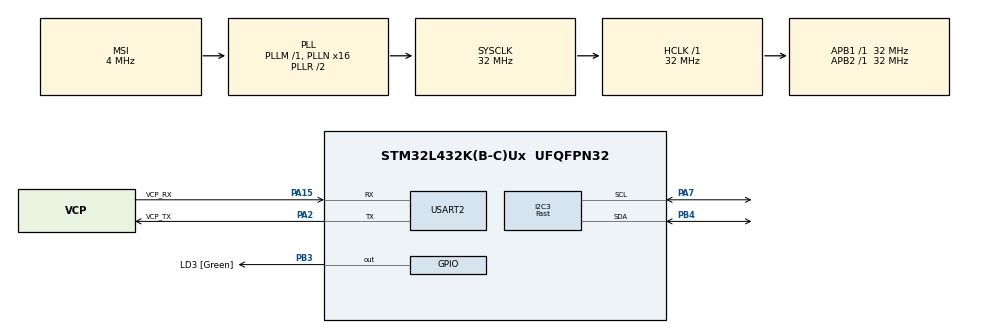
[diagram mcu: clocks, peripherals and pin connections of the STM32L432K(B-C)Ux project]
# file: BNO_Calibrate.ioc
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Dma.I2C3_RX.0.Direction=DMA_PERIPH_TO_MEMORY
Dma.I2C3_RX.0.Instance=DMA1_Channel3
Dma.I2C3_RX.0.MemDataAlignment=DMA_MDATAALIGN_BYTE
Dma.I2C3_RX.0.MemInc=DMA_MINC_ENABLE
Dma.I2C3_RX.0.Mode=DMA_NORMAL
Dma.I2C3_RX.0.PeriphDataAlignment=DMA_PDATAALIGN_BYTE
Dma.I2C3_RX.0.PeriphInc=DMA_PINC_DISABLE
Dma.I2C3_RX.0.Priority=DMA_PRIORITY_LOW
Dma.I2C3_TX.1.Direction=DMA_MEMORY_TO_PERIPH
Dma.I2C3_TX.1.Instance=DMA1_Channel2
Dma.I2C3_TX.1.MemDataAlignment=DMA_MDATAALIGN_BYTE
Dma.I2C3_TX.1.MemInc=DMA_MINC_ENABLE
Dma.I2C3_TX.1.Mode=DMA_NORMAL
Dma.I2C3_TX.1.PeriphDataAlignment=DMA_PDATAALIGN_BYTE
Dma.I2C3_TX.1.PeriphInc=DMA_PINC_DISABLE
Dma.I2C3_TX.1.Priority=DMA_PRIORITY_LOW
Dma.Request0=I2C3_RX
Dma.Request1=I2C3_TX
I2C3.I2C_Speed_Mode=I2C_Fast
I2C3.Timing=0x00300F38
Mcu.Family=STM32L4
Mcu.Name=STM32L432K(B-C)Ux
Mcu.Package=UFQFPN32
NVIC.DMA1_Channel2_IRQn=true\:0\:0\:false\:false\:true\:false\:true\:true
NVIC.DMA1_Channel3_IRQn=true\:0\:0\:false\:false\:true\:false\:true\:true
NVIC.I2C3_EV_IRQn=true\:0\:0\:false\:false\:true\:true\:true\:true
NVIC.PriorityGroup=NVIC_PRIORITYGROUP_4
PA0.GPIO_Label=MCO [High speed clock in]
PA0.Mode=HSE-External-Clock-Source-for-LittleOrca
PA0.Signal=RCC_CK_IN
PA13\ (JTMS-SWDIO).GPIO_Label=SWDIO
PA13\ (JTMS-SWDIO).Mode=Serial_Wire
PA13\ (JTMS-SWDIO).Signal=SYS_JTMS-SWDIO
PA14\ (JTCK-SWCLK).GPIO_Label=SWCLK
PA14\ (JTCK-SWCLK).Mode=Serial_Wire
PA14\ (JTCK-SWCLK).Signal=SYS_JTCK-SWCLK
PA15\ (JTDI).GPIO_Label=VCP_RX
PA15\ (JTDI).Mode=Asynchronous
PA15\ (JTDI).Signal=USART2_RX
PA2.GPIO_Label=VCP_TX
PA2.Mode=Asynchronous
PA2.Signal=USART2_TX
PA7.Mode=I2C
PA7.Signal=I2C3_SCL
PB3\ (JTDO-TRACESWO).GPIO_Label=LD3 [Green]
PB3\ (JTDO-TRACESWO).Signal=GPIO_Output
PB4\ (NJTRST).Mode=I2C
PB4\ (NJTRST).Signal=I2C3_SDA
PC14-OSC32_IN\ (PC14).Mode=LSE-External-Oscillator
PC14-OSC32_IN\ (PC14).Signal=RCC_OSC32_IN
PC15-OSC32_OUT\ (PC15).Mode=LSE-External-Oscillator
PC15-OSC32_OUT\ (PC15).Signal=RCC_OSC32_OUT
ProjectManager.HeapSize=0x200
ProjectManager.StackSize=0x400
ProjectManager.TargetToolchain=STM32CubeIDE
RCC.AHBFreq_Value=32000000
RCC.APB1Freq_Value=32000000
RCC.APB1TimFreq_Value=32000000
RCC.APB2Freq_Value=32000000
RCC.APB2TimFreq_Value=32000000
RCC.CortexFreq_Value=32000000
RCC.HCLKFreq_Value=32000000
RCC.HSE_VALUE=8000000
RCC.HSI16_VALUE=16000000
RCC.HSI48_VALUE=48000000
RCC.HSI_VALUE=16000000
RCC.MSI_VALUE=4000000
RCC.PLLMUL=RCC_PLLMUL_4
RCC.PLLN=16
RCC.SYSCLKFreq_VALUE=32000000
RCC.SYSCLKSource=RCC_SYSCLKSOURCE_PLLCLK
RCC.VCOOutputFreq_Value=64000000
USART2.VirtualMode-Asynchronous=VM_ASYNC
board=NUCLEO-L432KC

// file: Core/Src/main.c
/* USER CODE BEGIN Header */
/**
 ******************************************************************************
 * @file           : main.c
 * @brief          : Main program body
 ******************************************************************************
 * @attention
 *
 * Copyright (c) 2024 STMicroelectronics.
 * All rights reserved.
 *
 * This software is licensed under terms that can be found in the LICENSE file
 * in the root directory of this software component.
 * If no LICENSE file comes with this software, it is provided AS-IS.
 *
 ******************************************************************************
 */
/* USER CODE END Header */
#include "main.h"
#include "dma.h"
#include "i2c.h"
#include "usart.h"
#include "gpio.h"

/* USER CODE BEGIN Includes */
#include "Controller.h"
#include "Cytron_Motor_260rpm_250W.h"
#include "BNO055.h"
#include "PAA5160E1.h"
/* USER CODE END Includes */

/* USER CODE BEGIN PD */
#define BNO055_ADD_H 0x29 << 1
#define BNO055_ADD_L 0x28 << 1
#define CHIP_ID 0x00
/* USER CODE END PD */

/* USER CODE BEGIN PV */
BNO055_Structure bno;
PAA5160E1_Structure paa;
uint8_t sys;
uint8_t gyro;
uint8_t accel;
uint8_t mag;

uint8_t mode;
uint8_t calibated;
/* USER CODE END PV */

void SystemClock_Config(void);

int main(void)
{

	/* MCU Configuration--------------------------------------------------------*/

	/* Reset of all peripherals, Initializes the Flash interface and the Systick. */
	HAL_Init();

	/* Configure the system clock */
	SystemClock_Config();

	/* Initialize all configured peripherals */
	MX_GPIO_Init();
	MX_DMA_Init();
	MX_USART2_UART_Init();
	MX_I2C3_Init();
	/* USER CODE BEGIN 2 */
	//	uint16_t a = 0;
	//	for (uint16_t i = 0; i < 255; i++)
	//	    {
	//	        if (HAL_I2C_IsDeviceReady(&hi2c3, i<<1, 5, 10) == HAL_OK)
	//	        {
	//	            paa.RxBuffer[a] = i;
	//	            a++;
	//	        }
	//	    }

	while (PAA5160E1_Init(&paa, &hi2c3) != HAL_OK) {
		HAL_Delay(100);
	}

	while (PAA5160E1_calibrateImu(&paa, 255, 1) != HAL_OK) {
		HAL_Delay(100);
	}

	resetTracking(&paa);

	paa.pos.x = 0.0;
	paa.pos.y = 0.0;
	paa.pos.h = 0.0;
	PAA5160E1_setPosition(&paa);

	//	while(BNO055_isFullyCalibrated(&bno) != HAL_OK){
	//		HAL_I2C_Mem_Read(bno.hi2cx, bno.address, OPR_MODE, 1, bno.RxBuffer, 1, 10);
	//		mode = bno.RxBuffer[0] & 0x0F;
	//		HAL_Delay(20);
	//
	//		HAL_I2C_Mem_Read(bno.hi2cx, bno.address, CALIB_STAT, 1, bno.RxBuffer, 1, 10);
	//		calibated = bno.RxBuffer[0];
	//		HAL_Delay(20);
	//	}
	//	sys = 1;
	//
	//	while(BNO055_getSensorOffsets(&bno) != HAL_OK){
	//		sys = 2;
	//	}
	//
	//	BNO055_setSensoroffsets(&bno);
	//	sys = 3;
	//
	//	BNO55_setAxisRemap(&bno, P0_Config);
	//
	//	BNO55_setAxisSign(&bno, P0_Sign);
	/* USER CODE END 2 */

	/* Infinite loop */
	/* USER CODE BEGIN WHILE */
	uint32_t paa_time = HAL_GetTick() + 10;
	while (1)
	{
		/* USER CODE END WHILE */

		/* USER CODE BEGIN 3 */
		uint32_t time = HAL_GetTick();
		if (time >= paa_time) //bno.flag == HAL_OK &&
		{
			paa_time += 10;
			//BNO055_Read(&bno, EULER);
			//BNO055_Read(&bno, LINEARACCEL);
			//			BNO055_Read(&bno, EULER);
			PAA5160E1_getPosVelAcc(&paa);
			bno.flag = HAL_BUSY;
		}
	}
	/* USER CODE END 3 */
}

void SystemClock_Config(void)
{
	RCC_OscInitTypeDef RCC_OscInitStruct = {0};
	RCC_ClkInitTypeDef RCC_ClkInitStruct = {0};

	/** Configure the main internal regulator output voltage
	 */
	if (HAL_PWREx_ControlVoltageScaling(PWR_REGULATOR_VOLTAGE_SCALE1) != HAL_OK)
	{
		Error_Handler();
	}

	/** Configure LSE Drive Capability
	 */
	HAL_PWR_EnableBkUpAccess();
	__HAL_RCC_LSEDRIVE_CONFIG(RCC_LSEDRIVE_LOW);

	/** Initializes the RCC Oscillators according to the specified parameters
	 * in the RCC_OscInitTypeDef structure.
	 */
	RCC_OscInitStruct.OscillatorType = RCC_OSCILLATORTYPE_LSE|RCC_OSCILLATORTYPE_MSI;
	RCC_OscInitStruct.LSEState = RCC_LSE_ON;
	RCC_OscInitStruct.MSIState = RCC_MSI_ON;
	RCC_OscInitStruct.MSICalibrationValue = 0;
	RCC_OscInitStruct.MSIClockRange = RCC_MSIRANGE_6;
	RCC_OscInitStruct.PLL.PLLState = RCC_PLL_ON;
	RCC_OscInitStruct.PLL.PLLSource = RCC_PLLSOURCE_MSI;
	RCC_OscInitStruct.PLL.PLLM = 1;
	RCC_OscInitStruct.PLL.PLLN = 16;
	RCC_OscInitStruct.PLL.PLLP = RCC_PLLP_DIV7;
	RCC_OscInitStruct.PLL.PLLQ = RCC_PLLQ_DIV2;
	RCC_OscInitStruct.PLL.PLLR = RCC_PLLR_DIV2;
	if (HAL_RCC_OscConfig(&RCC_OscInitStruct) != HAL_OK)
	{
		Error_Handler();
	}

	/** Initializes the CPU, AHB and APB buses clocks
	 */
	RCC_ClkInitStruct.ClockType = RCC_CLOCKTYPE_HCLK|RCC_CLOCKTYPE_SYSCLK
			|RCC_CLOCKTYPE_PCLK1|RCC_CLOCKTYPE_PCLK2;
	RCC_ClkInitStruct.SYSCLKSource = RCC_SYSCLKSOURCE_PLLCLK;
	RCC_ClkInitStruct.AHBCLKDivider = RCC_SYSCLK_DIV1;
	RCC_ClkInitStruct.APB1CLKDivider = RCC_HCLK_DIV1;
	RCC_ClkInitStruct.APB2CLKDivider = RCC_HCLK_DIV1;

	if (HAL_RCC_ClockConfig(&RCC_ClkInitStruct, FLASH_LATENCY_1) != HAL_OK)
	{
		Error_Handler();
	}

	/** Enable MSI Auto calibration
	 */
	HAL_RCCEx_EnableMSIPLLMode();
}

void Error_Handler(void)
{
	__disable_irq();
	while (1)
	{
	}
}
